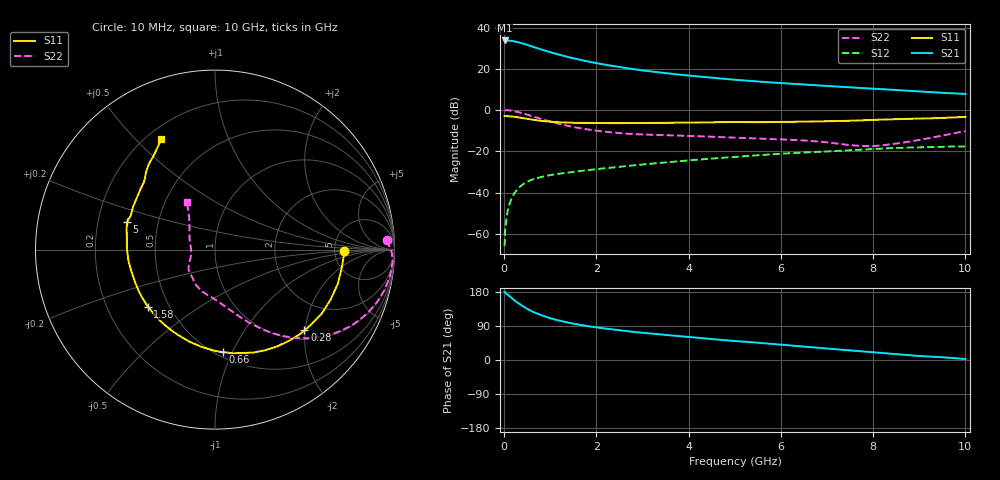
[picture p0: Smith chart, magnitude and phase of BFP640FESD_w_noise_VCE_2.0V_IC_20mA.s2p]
! Infineon Technologies  Discrete & RF Semiconductors
! BFP640FESD
! VCE =  2.0 V,  IC =  20 mA
! Common Emitter S-Parameters:  Jan 2016
# GHz  S  MA  R  50
!  f  S11  S21  S12  S22
! GHz  MAG  ANG  MAG  ANG  MAG  ANG  MAG  ANG
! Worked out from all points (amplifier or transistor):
!   233 points, 10 MHz to 10 GHz, reference 50 ohm
!   highest |S21| = 33.7 dB at 10 MHz (marker M1)
!   |S21| within 3 dB of that: start of sweep to 617.4 MHz
!   unconditionally stable (mu >= 1): 4.148 GHz to end of sweep
!   at 200 MHz: K = 0.10, MSG = 37.3 dB, |S12| = -41.1 dB
!   at 1.74 GHz: K = 0.73, MSG = 26.6 dB, |S12| = -29.3 dB
!   at 10 GHz: K = 1.09, MAG = 10.9 dB, |S12| = -17.6 dB
!   lowest NFmin = 0.88 dB at 450 MHz
!   S11 on the Smith chart (normalised r, x): 10 MHz: 6.14, -0.13; 280 MHz: 1.21, -1.98; 660 MHz: 0.54, -0.92; 1.58 GHz: 0.38, -0.32; 5 GHz: 0.33, +0.14; 10 GHz: 0.26, +0.59
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0.01  0.7201 -0.4  48.68 180.0  0.0005 85.1  0.9609 3.1
0.02  0.7181 -3.1  48.65 177.9  0.0012 94.0  0.986 -1.1
0.1  0.7102 -15.6  48.54 170.1  0.0046 83.5  0.9861 -8.8
0.15  0.7019 -23.4  47.87 164.8  0.0067 79.9  0.971 -13.4
0.22  0.6866 -33.6  46.33 157.9  0.0096 75.1  0.94 -19.3
0.28  0.6713 -42.1  44.74 152.3  0.0118 71.6  0.9085 -24.1
0.36  0.6499 -52.8  42.44 145.5  0.0144 67.5  0.8613 -30.0
0.45  0.6258 -63.8  39.6 138.5  0.017 63.4  0.8055 -35.8
0.6  0.5867 -80.1  34.97 128.5  0.0204 58.2  0.7136 -43.8
0.66  0.5721 -85.7  33.25 125.4  0.0215 56.7  0.6801 -46.4
0.8  0.5475 -97.8  29.56 118.3  0.0238 54.0  0.6089 -52.1
1  0.5203 -112.1  25.25 110.2  0.0264 51.6  0.525 -58.7
1.3  0.5 -128.4  20.42 100.9  0.0297 50.1  0.4331 -66.4
1.58  0.4904 -139.7  17.16 94.2  0.0325 49.9  0.3731 -72.6
1.68  0.4874 -143.2  16.22 92.0  0.0335 50.0  0.3567 -74.6
2.4  0.4804 -161.8  11.46 79.7  0.0411 50.9  0.2817 -88.6
3.4  0.4891 -179.0  8.063 67.4  0.0524 51.2  0.2472 -105.0
5  0.5139 162.3  5.424 50.0  0.0726 48.2  0.2136 -123.7
5.1  0.5122 161.5  5.316 49.2  0.0741 48.0  0.2116 -124.2
6.8  0.5302 142.8  3.965 32.3  0.0968 40.7  0.1723 -148.3
8.4  0.5969 128.6  3.105 16.2  0.1193 32.4  0.1488 160.9
10  0.6834 116.1  2.457 2.6  0.1317 22.4  0.3076 120.6
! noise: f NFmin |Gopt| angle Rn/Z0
0.45  0.88  0.04  -159  0.09
2.4  0.91  0.1  -167  0.09
5.5  1.14  0.24  -175  0.08
10  1.67  0.43  -111  0.25
